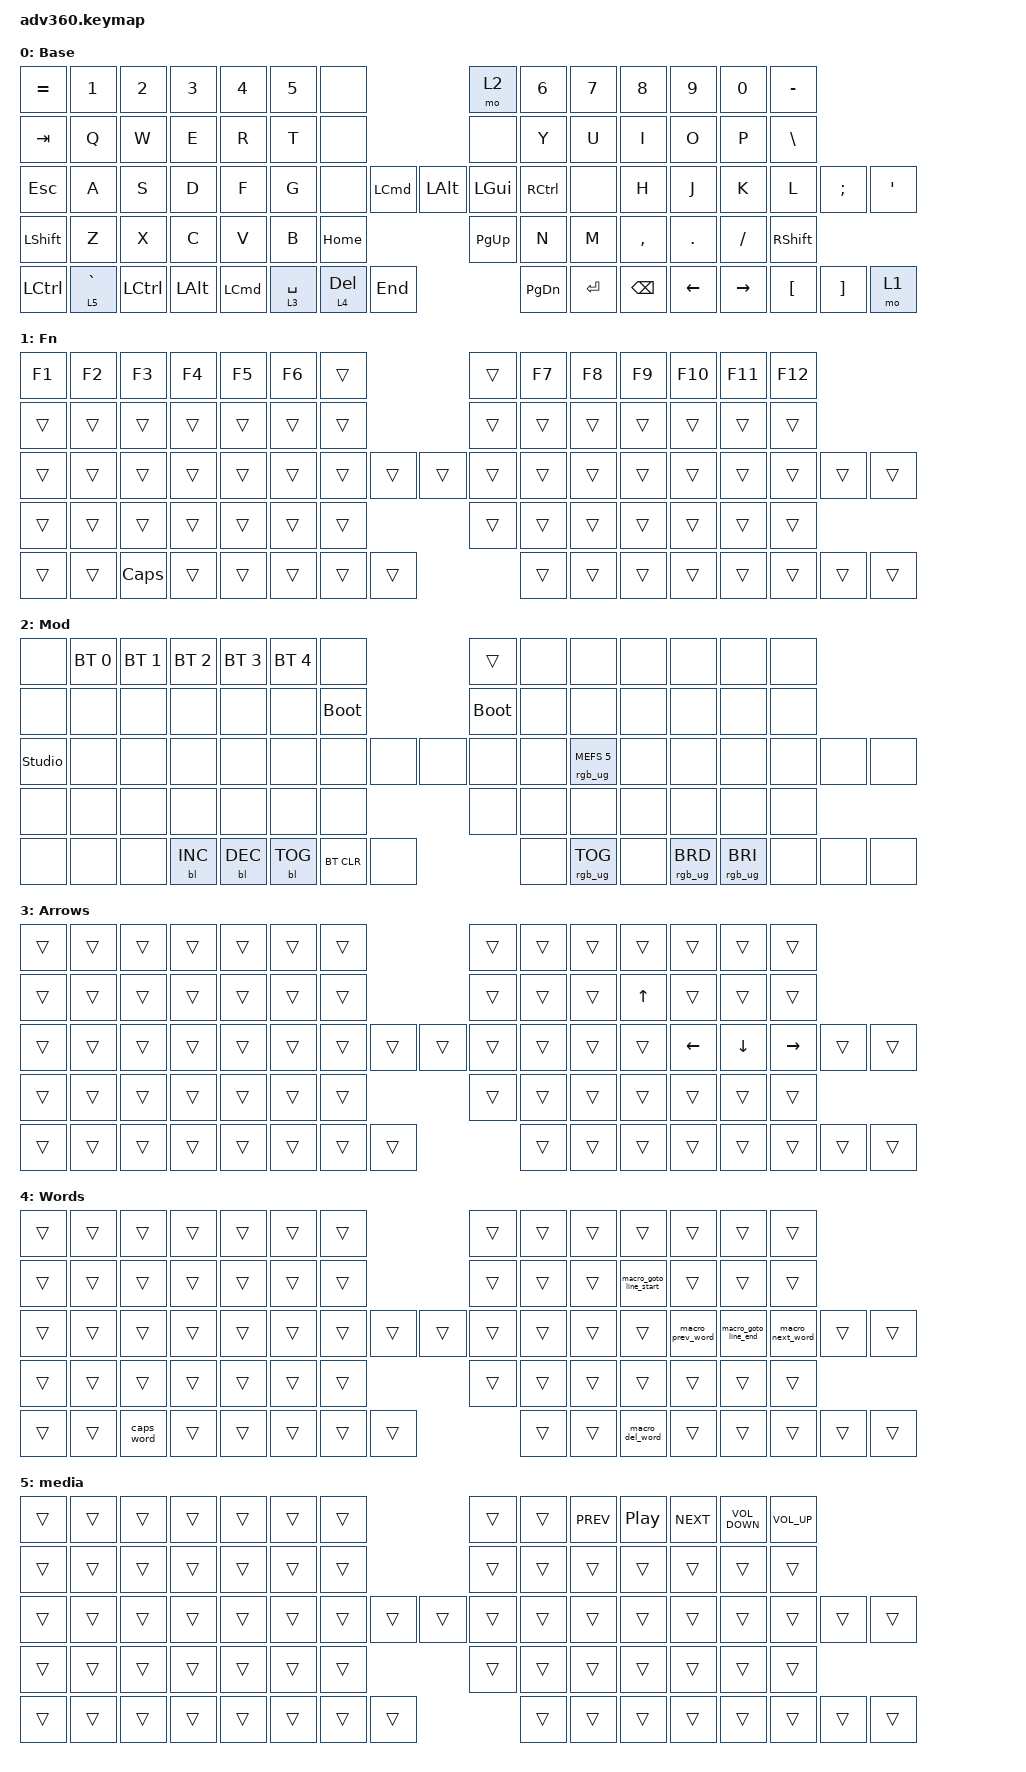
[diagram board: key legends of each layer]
#include <behaviors.dtsi>
#include <dt-bindings/zmk/keys.h>
#include <dt-bindings/zmk/bt.h>
#include <dt-bindings/zmk/rgb.h>
#include <dt-bindings/zmk/stp.h>
#include <dt-bindings/zmk/backlight.h>
#include <dt-bindings/zmk/pointing.h>

/ {
  behaviors {
    #include "macros.dtsi"
    #include "version.dtsi"

    hm: homerow_mods {
      compatible = "zmk,behavior-hold-tap";
      label = "HOMEROW_MODS";
      #binding-cells = <2>;
      tapping-term-ms = <200>;
      quick_tap_ms = <175>;
      flavor = "tap-preferred";
      bindings = <&kp>, <&kp>;
    };
  };

  keymap {
    compatible = "zmk,keymap";

    default_layer {
      display-name = "Base";
      bindings = <
        &kp EQUAL  &kp N1       &kp N2     &kp N3    &kp N4    &kp N5  &none                          &mo 2     &kp N6     &kp N7     &kp N8     &kp N9    &kp N0    &kp MINUS
        &kp TAB    &kp Q        &kp W      &kp E     &kp R     &kp T   &none                          &none     &kp Y      &kp U      &kp I      &kp O     &kp P     &kp BSLH
        &kp ESC    &kp A        &kp S      &kp D     &kp F     &kp G   &none    &kp LCMD  &kp LALT    &kp LGUI  &kp RCTRL    &none      &kp H      &kp J      &kp K     &kp L     &kp SEMI  &kp SQT
        &kp LSHFT  &kp Z        &kp X      &kp C     &kp V     &kp B            &kp HOME   &kp PG_UP               &kp N       &kp M      &kp COMMA  &kp DOT   &kp FSLH  &kp RSHFT
        &kp LCTRL  &lt 5 GRAVE  &kp LCTRL  &kp LALT  &kp LCMD    &lt 3 SPACE  &lt 4 DELETE  &kp END    &kp PG_DN  &kp ENTER  &kp BACKSPACE    &kp LEFT  &kp RIGHT  &kp LBKT  &kp RBKT  &mo 1
      >;
    };

    fn {
      display-name = "Fn";
      bindings = <
        &kp F1  &kp F2  &kp F3    &kp F4  &kp F5  &kp F6  &trans                    &trans  &kp F7  &kp F8  &kp F9  &kp F10  &kp F11  &kp F12
        &trans  &trans  &trans    &trans  &trans  &trans  &trans                    &trans  &trans  &trans  &trans  &trans   &trans   &trans
        &trans  &trans  &trans    &trans  &trans  &trans  &trans    &trans  &trans    &trans  &trans    &trans  &trans  &trans  &trans  &trans  &trans  &trans
        &trans  &trans  &trans    &trans  &trans  &trans            &trans    &trans            &trans  &trans  &trans  &trans  &trans  &trans
        &trans  &trans  &kp CAPS  &trans  &trans    &trans  &trans  &trans    &trans  &trans  &trans    &trans  &trans  &trans  &trans  &trans
      >;
    };

    mod {
      display-name = "Mod";
      bindings = <
        &none           &bt BT_SEL 0  &bt BT_SEL 1  &bt BT_SEL 2  &bt BT_SEL 3  &bt BT_SEL 4  &none                                          &trans       &none            &none            &none  &none  &none  &none
        &none           &none         &none         &none         &none         &none         &bootloader                                    &bootloader  &none            &none            &none  &none  &none  &none
        &studio_unlock  &none         &none         &none         &none         &none         &none    &none  &none    &none  &none    &rgb_ug RGB_MEFS_CMD 5    &none  &none  &none  &none  &none  &none
        &none           &none         &none         &none         &none         &none                  &none    &none                                &none            &none            &none  &none  &none  &none
        &none           &none         &none         &bl BL_INC    &bl BL_DEC    &bl BL_TOG  &bt BT_CLR  &none    &none  &rgb_ug RGB_TOG  &none    &rgb_ug RGB_BRD  &rgb_ug RGB_BRI  &none  &none  &none
      >;
    };

    arrows {
      display-name = "Arrows";
      bindings = <
        &trans  &trans  &trans  &trans  &trans  &trans  &trans                    &trans  &trans    &trans    &trans     &trans  &trans  &trans
        &trans  &trans  &trans  &trans  &trans  &trans  &trans                    &trans  &trans    &trans    &kp UP     &trans  &trans  &trans
        &trans  &trans  &trans  &trans  &trans  &trans  &trans    &trans  &trans    &trans  &trans    &trans  &trans  &kp LEFT  &kp DOWN  &kp RIGHT  &trans  &trans
        &trans  &trans  &trans  &trans  &trans  &trans            &trans    &trans            &trans  &trans    &trans     &trans  &trans  &trans
        &trans  &trans  &trans  &trans  &trans    &trans  &trans  &trans    &trans  &trans  &trans    &trans    &trans     &trans  &trans  &trans
      >;
    };

    words {
      display-name = "Words";
      bindings = <
        &trans  &trans  &trans      &trans  &trans  &trans  &trans                    &trans  &trans            &trans                &trans                  &trans  &trans  &trans
        &trans  &trans  &trans      &trans  &trans  &trans  &trans                    &trans  &trans            &trans                &macro_goto_line_start  &trans  &trans  &trans
        &trans  &trans  &trans      &trans  &trans  &trans  &trans    &trans  &trans    &trans  &trans    &trans  &trans  &macro_prev_word  &macro_goto_line_end  &macro_next_word  &trans  &trans
        &trans  &trans  &trans      &trans  &trans  &trans            &trans    &trans            &trans            &trans                &trans            &trans  &trans  &trans
        &trans  &trans  &caps_word  &trans  &trans    &trans  &trans  &trans    &trans  &trans  &macro_del_word    &trans                &trans            &trans  &trans  &trans
      >;
    };

    media {
      bindings = <
        &trans  &trans  &trans  &trans  &trans  &trans  &trans                    &trans  &trans  &kp C_PREV  &kp C_PLAY_PAUSE  &kp C_NEXT  &kp C_VOLUME_DOWN  &kp C_VOLUME_UP
        &trans  &trans  &trans  &trans  &trans  &trans  &trans                    &trans  &trans  &trans     &trans            &trans      &trans             &trans
        &trans  &trans  &trans  &trans  &trans  &trans  &trans    &trans  &trans    &trans  &trans    &trans  &trans  &trans     &trans            &trans      &trans             &trans
        &trans  &trans  &trans  &trans  &trans  &trans            &trans    &trans            &trans  &trans     &trans            &trans      &trans             &trans
        &trans  &trans  &trans  &trans  &trans    &trans  &trans  &trans    &trans  &trans  &trans    &trans     &trans            &trans      &trans             &trans
      >;
    };

    extra1 {
      display-name = "Red";
      status = "reserved";
    };

    extra2 {
      display-name = "Purple";
      status = "reserved";
    };

    extra3 {
      display-name = "Cyan";
      status = "reserved";
    };

    extra4 {
      display-name = "Yellow";
      status = "reserved";
    };
  };
};
